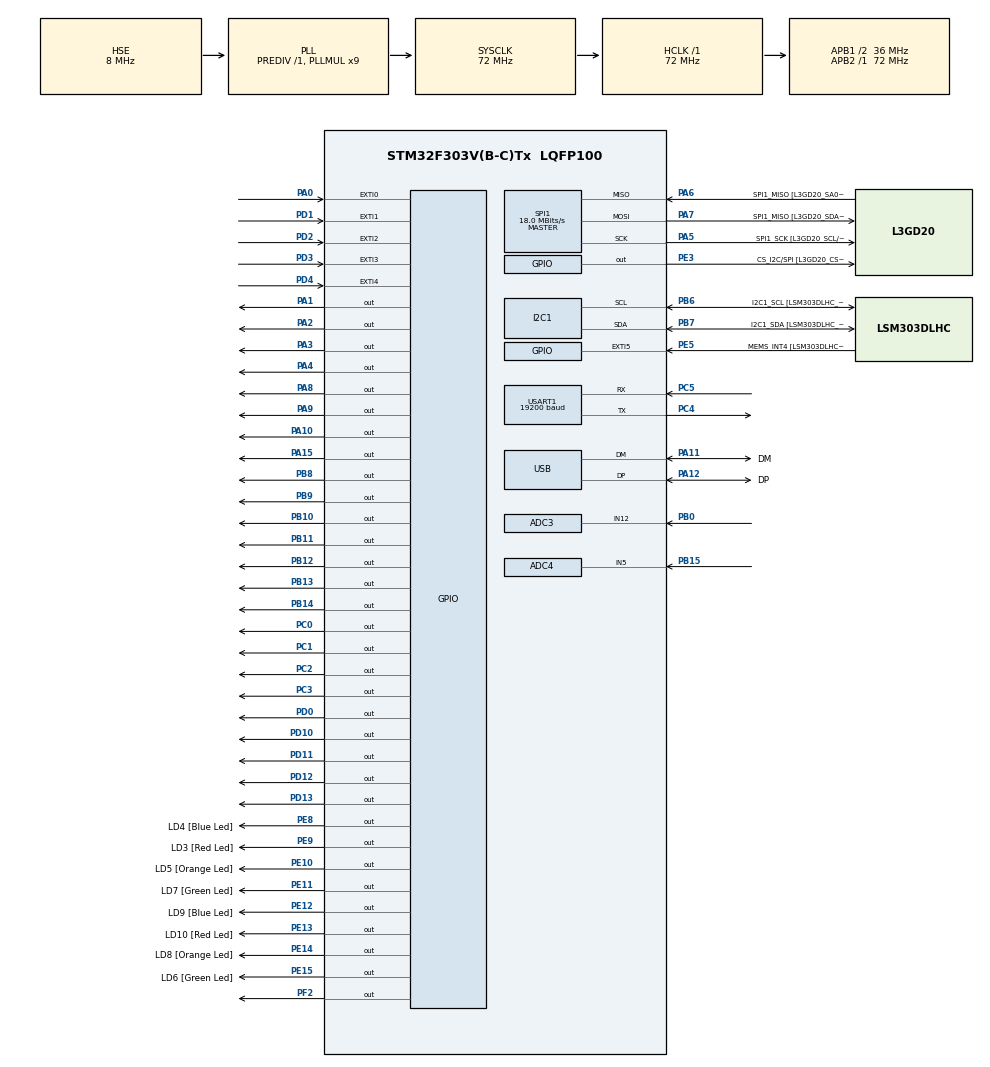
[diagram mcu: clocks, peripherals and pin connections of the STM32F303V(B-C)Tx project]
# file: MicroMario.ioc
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NVIC.EXTI2_TSC_IRQn=true\:1\:0\:true\:false\:true\:true\:true
SPI1.VirtualType=VM_MASTER
PA14.GPIO_Label=SWCLK
PA6.GPIO_Label=SPI1_MISO [L3GD20_SA0/SDO]
PB6.GPIO_Label=I2C1_SCL [LSM303DLHC_SCL]
PC5.Mode=Asynchronous
ADC4.OffsetNumber-0\#ChannelRegularConversion=ADC_OFFSET_NONE
PB13.Signal=GPIO_Output
PC15-OSC32_OUT.GPIO_Label=OSC32_OUT
NVIC.EXTI1_IRQn=true\:1\:0\:true\:false\:true\:true\:true
SPI1.Direction=SPI_DIRECTION_2LINES
RCC.APB2TimFreq_Value=72000000
PD4.Signal=GPXTI4
PB6.Signal=I2C1_SCL
PB6.Mode=I2C
SPI1.CalculateBaudRate=18.0 MBits/s
PC3.Signal=GPIO_Output
PD0.Signal=GPIO_Output
PE5.Signal=GPXTI5
PF0-OSC_IN.GPIO_Label=OSC_IN
PE9.Signal=GPIO_Output
NVIC.TIM2_IRQn=true\:1\:2\:true\:false\:true\:true\:true
PA8.Signal=GPIO_Output
TIM4.Period=100
PE10.Signal=GPIO_Output
SPI1.CalculateBaudRate-Full_Duplex_Master=24.0 MBits/s
PA0.Signal=GPXTI0
Mcu.Package=LQFP100
PB9.Signal=GPIO_Output
TIM2.Prescaler=7199
PD12.Signal=GPIO_Output
ADC3.Rank-0\#ChannelRegularConversion=1
PA10.Signal=GPIO_Output
PE12.GPIO_Label=LD9 [Blue Led]
RCC.APB1TimFreq_Value=72000000
PD3.GPIO_PuPd=GPIO_PULLDOWN
NVIC.USART1_IRQn=true\:1\:1\:true\:false\:true\:true\:true
PE10.GPIO_Label=LD5 [Orange Led]
PF1-OSC_OUT.Signal=RCC_OSC_OUT
PC4.Mode=Asynchronous
PA5.Mode=Full_Duplex_Master
NVIC.EXTI4_IRQn=true\:1\:0\:true\:false\:true\:true\:true
PD2.GPIO_PuPd=GPIO_PULLDOWN
PD3.Signal=GPXTI3
PC2.Signal=GPIO_Output
PD1.Signal=GPXTI1
PA11.GPIO_Label=DM
PD1.GPIO_PuPd=GPIO_PULLDOWN
PC0.Signal=GPIO_Output
RCC.APB1CLKDivider=RCC_HCLK_DIV2
PC14-OSC32_IN.Signal=RCC_OSC32_IN
PD10.Signal=GPIO_Output
PE5.GPIO_ModeDefaultEXTI=GPIO_MODE_EVT_RISING
PE8.GPIO_Label=LD4 [Blue Led]
PA9.Signal=GPIO_Output
PE9.GPIO_Label=LD3 [Red Led]
PB10.Signal=GPIO_Output
PB14.Signal=GPIO_Output
PA5.Signal=SPI1_SCK
NVIC.TIM3_IRQn=true\:1\:0\:true\:false\:true\:true\:true
PE14.Signal=GPIO_Output
PE15.Signal=GPIO_Output
ADC4.NbrOfConversionFlag=1
RCC.PRESCALERUSB=RCC_USBCLKSOURCE_PLL_DIV1_5
PE8.Signal=GPIO_Output
SPI1.Mode=SPI_MODE_MASTER
PF1-OSC_OUT.GPIO_Label=OSC_OUT
I2C1.Timing-I2C=0x2000090E
TIM2.Period=10000
PA13.Mode=Serial_Wire
PA4.Signal=GPIO_Output
PE13.GPIO_Label=LD10 [Red Led]
PA5.GPIO_Label=SPI1_SCK [L3GD20_SCL/SPC]
PD11.Signal=GPIO_Output
PE5.GPIO_Label=MEMS_INT4 [LSM303DLHC_INT2]
PA11.Signal=USB_DM
ProjectManager.HeapSize=0x200
ADC3.Offset-0\#ChannelRegularConversion=0
VP_TIM4_VS_ClockSourceINT.Mode=Internal
NVIC.PriorityGroup=NVIC_PRIORITYGROUP_2
PE3.Signal=GPIO_Output
PF0-OSC_IN.Signal=RCC_OSC_IN
PD2.Signal=GPXTI2
PB0.Signal=ADC3_IN12
SPI1.BaudRatePrescaler-Full_Duplex_Master=SPI_BAUDRATEPRESCALER_2
PC1.Signal=GPIO_Output
Mcu.Family=STM32F3
PA6.Mode=Full_Duplex_Master
RCC.CortexFreq_Value=72000000
PE11.GPIO_Label=LD7 [Green Led]
USART1.BaudRate=19200
RCC.SYSCLKSourceVirtual=RCC_SYSCLKSOURCE_PLLCLK
NVIC.EXTI3_IRQn=true\:1\:0\:true\:false\:true\:true\:true
PA11.Mode=Device
PB11.Signal=GPIO_Output
PB15.Signal=ADC4_IN5
ADC3.Channel-0\#ChannelRegularConversion=ADC_CHANNEL_12
ProjectManager.StackSize=0x400
SPI1.Mode-Full_Duplex_Master=SPI_MODE_MASTER
PD13.Signal=GPIO_Output
ADC4.Channel-0\#ChannelRegularConversion=ADC_CHANNEL_5
PA12.Signal=USB_DP
RCC.HCLKFreq_Value=72000000
TIM3.Period=2000
RCC.AHBFreq_Value=72000000
RCC.HSE_VALUE=8000000
ADC3.InjNumberOfConversion=0
RCC.PLLMUL=RCC_PLL_MUL9
PE13.Signal=GPIO_Output
PA14.Mode=Serial_Wire
ADC4.Rank-0\#ChannelRegularConversion=1
TIM3.Prescaler=7199
PB7.Signal=I2C1_SDA
PB7.GPIO_Label=I2C1_SDA [LSM303DLHC_SDA]
ADC3.master=1
PA6.Signal=SPI1_MISO
PA15.Signal=GPIO_Output
ADC3.OffsetNumber-0\#ChannelRegularConversion=ADC_OFFSET_NONE
PC14-OSC32_IN.GPIO_Label=OSC32_IN
PC5.Signal=USART1_RX
SPI1.BaudRatePrescaler=SPI_BAUDRATEPRESCALER_4
VP_TIM3_VS_ClockSourceINT.Mode=Internal
PA3.Signal=GPIO_Output
PB3.GPIO_Label=SWO
PA7.Mode=Full_Duplex_Master
NVIC.ADC4_IRQn=true\:1\:1\:true\:false\:true\:true\:true
PC4.Signal=USART1_TX
PE14.GPIO_Label=LD8 [Orange Led]
PA12.GPIO_Label=DP
USART1.VirtualMode-Asynchronous=VM_ASYNC
PA13.Signal=SYS_JTMS-SWDIO
PD4.GPIO_PuPd=GPIO_PULLDOWN
ADC3.SamplingTime-0\#ChannelRegularConversion=ADC_SAMPLETIME_601CYCLES_5
PE15.GPIO_Label=LD6 [Green Led]
ADC4.SamplingTimeOPAMP-0\#ChannelRegularConversion=ADC_SAMPLETIME_61CYCLES_5
ProjectManager.TargetToolchain=STM32CubeIDE
PF2.Signal=GPIO_Output
ADC3.SamplingTimeOPAMP-0\#ChannelRegularConversion=ADC_SAMPLETIME_61CYCLES_5
RCC.USBFreq_Value=48000000
ADC4.Offset-0\#ChannelRegularConversion=0
TIM4.Prescaler=7199
PE11.Signal=GPIO_Output
RCC.LSE_VALUE=32768
PC15-OSC32_OUT.Signal=RCC_OSC32_OUT
PA1.Signal=GPIO_Output
PF0-OSC_IN.Mode=HSE-External-Clock-Source
PB0.Mode=IN12-Single-Ended
board=STM32F3DISCOVERY
PB15.Mode=IN5-Single-Ended
RCC.APB2Freq_Value=72000000
VP_TIM2_VS_ClockSourceINT.Mode=Internal
Mcu.Name=STM32F303V(B-C)Tx
ADC4.SamplingTime-0\#ChannelRegularConversion=ADC_SAMPLETIME_601CYCLES_5
PE12.Signal=GPIO_Output
PA2.Signal=GPIO_Output
PA13.GPIO_Label=SWDIO
PB3.Signal=SYS_JTDO-TRACESWO
NVIC.EXTI0_IRQn=true\:1\:0\:true\:false\:true\:true\:true
RCC.SYSCLKFreq_VALUE=72000000
PA7.GPIO_Label=SPI1_MISO [L3GD20_SDA/SDI/SDO]
PA12.Mode=Device
PB7.Mode=I2C
PA14.Signal=SYS_JTCK-SWCLK
RCC.HSI_VALUE=8000000
PB8.Signal=GPIO_Output
PE3.GPIO_Label=CS_I2C/SPI [L3GD20_CS_I2C/SPI]
NVIC.TIM4_IRQn=true\:1\:0\:true\:false\:true\:true\:true
RCC.APB1Freq_Value=36000000
ADC3.NbrOfConversionFlag=1
PB12.Signal=GPIO_Output
PA7.Signal=SPI1_MOSI

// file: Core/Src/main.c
/* USER CODE BEGIN Header */
/**
  ******************************************************************************
  * @file           : main.c
  * @brief          : Main program body
  ******************************************************************************
  * @attention
  *
  * <h2><center>&copy; Copyright (c) 2021 STMicroelectronics.
  * All rights reserved.</center></h2>
  *
  * This software component is licensed by ST under BSD 3-Clause license,
  * the "License"; You may not use this file except in compliance with the
  * License. You may obtain a copy of the License at:
  *                        opensource.org/licenses/BSD-3-Clause
  *
  ******************************************************************************
  */
/* USER CODE END Header */
#include "main.h"

/* USER CODE BEGIN Includes */
#include <stdlib.h>
#include <stdio.h>
#include <math.h>
#include "LiquidCrystal.h"
/* USER CODE END Includes */

/* USER CODE BEGIN PTD */

typedef unsigned char byte;
byte marioChar[] = {
        0x0E,        0x0F,
        0x0A,        0x0E,        0x04,
        0x0C,        0x04,        0x0A
};
byte flagChar[] = {
        0x08,        0x0C,
        0x0A,        0x09,        0x0A,
        0x0C,        0x08,        0x18
};

/* USER CODE END PTD */

/* USER CODE BEGIN PD */
// board led pins
uint16_t leds[8] = {GPIO_PIN_8, GPIO_PIN_9, GPIO_PIN_10, GPIO_PIN_11,
                    GPIO_PIN_12, GPIO_PIN_13, GPIO_PIN_14, GPIO_PIN_15 };
// lcd pins
uint16_t lcd[7] = {GPIO_PIN_8, GPIO_PIN_9, GPIO_PIN_10, GPIO_PIN_11,
                   GPIO_PIN_12, GPIO_PIN_13, GPIO_PIN_14};

// Seven Segment Digit pins
uint16_t ssd[4] = {GPIO_PIN_1, GPIO_PIN_2, GPIO_PIN_3, GPIO_PIN_4};
// IC 7447 pins
uint16_t icd[4] = {GPIO_PIN_8, GPIO_PIN_9, GPIO_PIN_10, GPIO_PIN_15};
//keypad mapping
char keys[4][4] = {
        {'D', ' ', 'R', 'P'},
        {'D', ' ', 'R', 'P'},
        {'D', ' ', 'R', 'P'},
        {'D', ' ', 'R', 'P'}
};

//keypad row & columns
uint16_t krows[4] = {GPIO_PIN_10, GPIO_PIN_11, GPIO_PIN_12, GPIO_PIN_13};
uint16_t kcols[4] = {GPIO_PIN_1, GPIO_PIN_2, GPIO_PIN_3, GPIO_PIN_4};

uint32_t outc[4] = {GPIO_PIN_0, GPIO_PIN_1, GPIO_PIN_2, GPIO_PIN_3};
uint32_t outa[4] = {GPIO_PIN_1, GPIO_PIN_2, GPIO_PIN_3, GPIO_PIN_4};

//                            >    █     円   ' '    ﾛ    x̄    flag   mario
uint8_t cellTypeChar[8] = {0x3E, 0xFF, 0xFC, 0x20, 0xDB, 0xF8, 0x01, 0x00};

enum cellType {BLADE, GROUND, PIPE, AIR, BLOCK, CHEST, FLAG, MARIO};
enum moveType {HALT, RUN, JUMP, RUMP} marioMode;
enum moveDir {NONE, RIGHT, UP, DOWN, UPRIGHT, DOWNRIGHT} marioDir;

int idx[4] = {0, 2, 1, 3};

int map[4][80] = {3};
// copy of the original map,
// used to revert cells when mario moves
int genmap[4][80] = {3};
int mario[2] = {2, 4};
int mapOffset = 0;

int life = 3;
// the map doesn't move for 3 periods after hit
int immunity = 0;
int coins = 0;
int startTime;
int endTime;

double volSpeed;

unsigned char uartin[1] = "";
int buttonCount = 0;

// debounce buttons
uint32_t lastButtonTick = 0;
int isPlaying = 0;
int jumpProg = -1;

//progress of 7seg, between 0-4
// (including dec point)
int d = 0;
int val = 0;

/* USER CODE END PD */

ADC_HandleTypeDef hadc3;
ADC_HandleTypeDef hadc4;

I2C_HandleTypeDef hi2c1;

SPI_HandleTypeDef hspi1;

TIM_HandleTypeDef htim2;
TIM_HandleTypeDef htim3;
TIM_HandleTypeDef htim4;

UART_HandleTypeDef huart1;

PCD_HandleTypeDef hpcd_USB_FS;

void SystemClock_Config(void);
static void MX_GPIO_Init(void);
static void MX_I2C1_Init(void);
static void MX_SPI1_Init(void);
static void MX_USB_PCD_Init(void);
static void MX_USART1_UART_Init(void);
static void MX_ADC3_Init(void);
static void MX_TIM2_Init(void);
static void MX_TIM3_Init(void);
static void MX_ADC4_Init(void);
static void MX_TIM4_Init(void);
/* USER CODE BEGIN PFP */

void splash(void);
void initGame(void);
void lifeLost(void);
void gameLost(void);
void gameWon(void);

void moveHandler(enum moveDir);
enum moveDir getMoveDir(enum moveType move);
void jump(void);

void generateMap(void);
void printMap(void);

void numToBcd(int n){
  int x[4];
  for (int i=0; i<4; i++){
    x[i] = n & (int) (pow(2, i));
    if (x[i] > 0) x[i] = 1;
    // write to ic
    HAL_GPIO_WritePin(GPIOC, icd[i], x[i]);
  }
}

/* USER CODE END PFP */

int main(void)
{

  /* MCU Configuration--------------------------------------------------------*/

  /* Reset of all peripherals, Initializes the Flash interface and the Systick. */
  HAL_Init();

  /* Configure the system clock */
  SystemClock_Config();

  /* Initialize all configured peripherals */
  MX_GPIO_Init();
  MX_I2C1_Init();
  MX_SPI1_Init();
  MX_USB_PCD_Init();
  MX_USART1_UART_Init();
  MX_ADC3_Init();
  MX_TIM2_Init();
  MX_TIM3_Init();
  MX_ADC4_Init();
  MX_TIM4_Init();
  /* USER CODE BEGIN 2 */

    //// Get seed from an unrouted ADC pin
    //// (behold the voltage randomness)
    //HAL_ADC_Start(&hadc3);
    //HAL_UART_Receive_IT(&huart1, uartin, sizeof(uartin));
    //srand(HAL_ADC_GetValue(&hadc3));
    //HAL_ADC_Stop_IT(&hadc3);
    //
    ////char data[30];
    ////sprintf(data, "%d seed \n", HAL_ADC_GetValue(&hadc3));
    ////HAL_UART_Transmit(&huart1, data, sizeof(data), 1000);

    lastButtonTick = HAL_GetTick();

    // LCD Init
    LiquidCrystal (GPIOB, lcd[0], lcd[1], lcd[2],
                   lcd[3], lcd[4], lcd[5], lcd[6]);
    begin(20,4);
    createChar(0, marioChar);
    createChar(1, flagChar);
    display();
    // show * Splash Screen *
    splash();
    HAL_UART_Receive_IT(&huart1, uartin, sizeof(uartin));
    HAL_GPIO_WritePin(GPIOD, krows[0] | krows [1] | krows[2] | krows[3] , 1);
  /* USER CODE END 2 */

  /* Infinite loop */
  while (1)
  {

  }
}

void SystemClock_Config(void)
{
  RCC_OscInitTypeDef RCC_OscInitStruct = {0};
  RCC_ClkInitTypeDef RCC_ClkInitStruct = {0};
  RCC_PeriphCLKInitTypeDef PeriphClkInit = {0};

  /** Initializes the RCC Oscillators according to the specified parameters
  * in the RCC_OscInitTypeDef structure.
  */
  RCC_OscInitStruct.OscillatorType = RCC_OSCILLATORTYPE_HSI|RCC_OSCILLATORTYPE_HSE;
  RCC_OscInitStruct.HSEState = RCC_HSE_BYPASS;
  RCC_OscInitStruct.HSEPredivValue = RCC_HSE_PREDIV_DIV1;
  RCC_OscInitStruct.HSIState = RCC_HSI_ON;
  RCC_OscInitStruct.HSICalibrationValue = RCC_HSICALIBRATION_DEFAULT;
  RCC_OscInitStruct.PLL.PLLState = RCC_PLL_ON;
  RCC_OscInitStruct.PLL.PLLSource = RCC_PLLSOURCE_HSE;
  RCC_OscInitStruct.PLL.PLLMUL = RCC_PLL_MUL9;
  if (HAL_RCC_OscConfig(&RCC_OscInitStruct) != HAL_OK)
  {
    Error_Handler();
  }
  /** Initializes the CPU, AHB and APB buses clocks
  */
  RCC_ClkInitStruct.ClockType = RCC_CLOCKTYPE_HCLK|RCC_CLOCKTYPE_SYSCLK
                              |RCC_CLOCKTYPE_PCLK1|RCC_CLOCKTYPE_PCLK2;
  RCC_ClkInitStruct.SYSCLKSource = RCC_SYSCLKSOURCE_PLLCLK;
  RCC_ClkInitStruct.AHBCLKDivider = RCC_SYSCLK_DIV1;
  RCC_ClkInitStruct.APB1CLKDivider = RCC_HCLK_DIV2;
  RCC_ClkInitStruct.APB2CLKDivider = RCC_HCLK_DIV1;

  if (HAL_RCC_ClockConfig(&RCC_ClkInitStruct, FLASH_LATENCY_2) != HAL_OK)
  {
    Error_Handler();
  }
  PeriphClkInit.PeriphClockSelection = RCC_PERIPHCLK_USB|RCC_PERIPHCLK_USART1
                              |RCC_PERIPHCLK_I2C1|RCC_PERIPHCLK_ADC34;
  PeriphClkInit.Usart1ClockSelection = RCC_USART1CLKSOURCE_PCLK2;
  PeriphClkInit.Adc34ClockSelection = RCC_ADC34PLLCLK_DIV1;
  PeriphClkInit.I2c1ClockSelection = RCC_I2C1CLKSOURCE_HSI;
  PeriphClkInit.USBClockSelection = RCC_USBCLKSOURCE_PLL_DIV1_5;
  if (HAL_RCCEx_PeriphCLKConfig(&PeriphClkInit) != HAL_OK)
  {
    Error_Handler();
  }
}

static void MX_ADC3_Init(void)
{

  ADC_MultiModeTypeDef multimode = {0};
  ADC_ChannelConfTypeDef sConfig = {0};

  /** Common config
  */
  hadc3.Instance = ADC3;
  hadc3.Init.ClockPrescaler = ADC_CLOCK_ASYNC_DIV1;
  hadc3.Init.Resolution = ADC_RESOLUTION_12B;
  hadc3.Init.ScanConvMode = ADC_SCAN_DISABLE;
  hadc3.Init.ContinuousConvMode = DISABLE;
  hadc3.Init.DiscontinuousConvMode = DISABLE;
  hadc3.Init.ExternalTrigConvEdge = ADC_EXTERNALTRIGCONVEDGE_NONE;
  hadc3.Init.ExternalTrigConv = ADC_SOFTWARE_START;
  hadc3.Init.DataAlign = ADC_DATAALIGN_RIGHT;
  hadc3.Init.NbrOfConversion = 1;
  hadc3.Init.DMAContinuousRequests = DISABLE;
  hadc3.Init.EOCSelection = ADC_EOC_SINGLE_CONV;
  hadc3.Init.LowPowerAutoWait = DISABLE;
  hadc3.Init.Overrun = ADC_OVR_DATA_OVERWRITTEN;
  if (HAL_ADC_Init(&hadc3) != HAL_OK)
  {
    Error_Handler();
  }
  /** Configure the ADC multi-mode
  */
  multimode.Mode = ADC_MODE_INDEPENDENT;
  if (HAL_ADCEx_MultiModeConfigChannel(&hadc3, &multimode) != HAL_OK)
  {
    Error_Handler();
  }
  /** Configure Regular Channel
  */
  sConfig.Channel = ADC_CHANNEL_12;
  sConfig.Rank = ADC_REGULAR_RANK_1;
  sConfig.SingleDiff = ADC_SINGLE_ENDED;
  sConfig.SamplingTime = ADC_SAMPLETIME_601CYCLES_5;
  sConfig.OffsetNumber = ADC_OFFSET_NONE;
  sConfig.Offset = 0;
  if (HAL_ADC_ConfigChannel(&hadc3, &sConfig) != HAL_OK)
  {
    Error_Handler();
  }

}

static void MX_ADC4_Init(void)
{

  ADC_ChannelConfTypeDef sConfig = {0};

  /** Common config
  */
  hadc4.Instance = ADC4;
  hadc4.Init.ClockPrescaler = ADC_CLOCK_ASYNC_DIV1;
  hadc4.Init.Resolution = ADC_RESOLUTION_12B;
  hadc4.Init.ScanConvMode = ADC_SCAN_DISABLE;
  hadc4.Init.ContinuousConvMode = DISABLE;
  hadc4.Init.DiscontinuousConvMode = DISABLE;
  hadc4.Init.ExternalTrigConvEdge = ADC_EXTERNALTRIGCONVEDGE_NONE;
  hadc4.Init.ExternalTrigConv = ADC_SOFTWARE_START;
  hadc4.Init.DataAlign = ADC_DATAALIGN_RIGHT;
  hadc4.Init.NbrOfConversion = 1;
  hadc4.Init.DMAContinuousRequests = DISABLE;
  hadc4.Init.EOCSelection = ADC_EOC_SINGLE_CONV;
  hadc4.Init.LowPowerAutoWait = DISABLE;
  hadc4.Init.Overrun = ADC_OVR_DATA_OVERWRITTEN;
  if (HAL_ADC_Init(&hadc4) != HAL_OK)
  {
    Error_Handler();
  }
  /** Configure Regular Channel
  */
  sConfig.Channel = ADC_CHANNEL_5;
  sConfig.Rank = ADC_REGULAR_RANK_1;
  sConfig.SingleDiff = ADC_SINGLE_ENDED;
  sConfig.SamplingTime = ADC_SAMPLETIME_601CYCLES_5;
  sConfig.OffsetNumber = ADC_OFFSET_NONE;
  sConfig.Offset = 0;
  if (HAL_ADC_ConfigChannel(&hadc4, &sConfig) != HAL_OK)
  {
    Error_Handler();
  }

}

static void MX_I2C1_Init(void)
{

  hi2c1.Instance = I2C1;
  hi2c1.Init.Timing = 0x2000090E;
  hi2c1.Init.OwnAddress1 = 0;
  hi2c1.Init.AddressingMode = I2C_ADDRESSINGMODE_7BIT;
  hi2c1.Init.DualAddressMode = I2C_DUALADDRESS_DISABLE;
  hi2c1.Init.OwnAddress2 = 0;
  hi2c1.Init.OwnAddress2Masks = I2C_OA2_NOMASK;
  hi2c1.Init.GeneralCallMode = I2C_GENERALCALL_DISABLE;
  hi2c1.Init.NoStretchMode = I2C_NOSTRETCH_DISABLE;
  if (HAL_I2C_Init(&hi2c1) != HAL_OK)
  {
    Error_Handler();
  }
  /** Configure Analogue filter
  */
  if (HAL_I2CEx_ConfigAnalogFilter(&hi2c1, I2C_ANALOGFILTER_ENABLE) != HAL_OK)
  {
    Error_Handler();
  }
  /** Configure Digital filter
  */
  if (HAL_I2CEx_ConfigDigitalFilter(&hi2c1, 0) != HAL_OK)
  {
    Error_Handler();
  }

}

static void MX_SPI1_Init(void)
{

  /* SPI1 parameter configuration*/
  hspi1.Instance = SPI1;
  hspi1.Init.Mode = SPI_MODE_MASTER;
  hspi1.Init.Direction = SPI_DIRECTION_2LINES;
  hspi1.Init.DataSize = SPI_DATASIZE_4BIT;
  hspi1.Init.CLKPolarity = SPI_POLARITY_LOW;
  hspi1.Init.CLKPhase = SPI_PHASE_1EDGE;
  hspi1.Init.NSS = SPI_NSS_SOFT;
  hspi1.Init.BaudRatePrescaler = SPI_BAUDRATEPRESCALER_4;
  hspi1.Init.FirstBit = SPI_FIRSTBIT_MSB;
  hspi1.Init.TIMode = SPI_TIMODE_DISABLE;
  hspi1.Init.CRCCalculation = SPI_CRCCALCULATION_DISABLE;
  hspi1.Init.CRCPolynomial = 7;
  hspi1.Init.CRCLength = SPI_CRC_LENGTH_DATASIZE;
  hspi1.Init.NSSPMode = SPI_NSS_PULSE_ENABLE;
  if (HAL_SPI_Init(&hspi1) != HAL_OK)
  {
    Error_Handler();
  }

}

static void MX_TIM2_Init(void)
{

  TIM_ClockConfigTypeDef sClockSourceConfig = {0};
  TIM_MasterConfigTypeDef sMasterConfig = {0};

  htim2.Instance = TIM2;
  htim2.Init.Prescaler = 7199;
  htim2.Init.CounterMode = TIM_COUNTERMODE_UP;
  htim2.Init.Period = 10000;
  htim2.Init.ClockDivision = TIM_CLOCKDIVISION_DIV1;
  htim2.Init.AutoReloadPreload = TIM_AUTORELOAD_PRELOAD_DISABLE;
  if (HAL_TIM_Base_Init(&htim2) != HAL_OK)
  {
    Error_Handler();
  }
  sClockSourceConfig.ClockSource = TIM_CLOCKSOURCE_INTERNAL;
  if (HAL_TIM_ConfigClockSource(&htim2, &sClockSourceConfig) != HAL_OK)
  {
    Error_Handler();
  }
  sMasterConfig.MasterOutputTrigger = TIM_TRGO_RESET;
  sMasterConfig.MasterSlaveMode = TIM_MASTERSLAVEMODE_DISABLE;
  if (HAL_TIMEx_MasterConfigSynchronization(&htim2, &sMasterConfig) != HAL_OK)
  {
    Error_Handler();
  }

}

static void MX_TIM3_Init(void)
{

  TIM_ClockConfigTypeDef sClockSourceConfig = {0};
  TIM_MasterConfigTypeDef sMasterConfig = {0};

  htim3.Instance = TIM3;
  htim3.Init.Prescaler = 7199;
  htim3.Init.CounterMode = TIM_COUNTERMODE_UP;
  htim3.Init.Period = 2000;
  htim3.Init.ClockDivision = TIM_CLOCKDIVISION_DIV1;
  htim3.Init.AutoReloadPreload = TIM_AUTORELOAD_PRELOAD_DISABLE;
  if (HAL_TIM_Base_Init(&htim3) != HAL_OK)
  {
    Error_Handler();
  }
  sClockSourceConfig.ClockSource = TIM_CLOCKSOURCE_INTERNAL;
  if (HAL_TIM_ConfigClockSource(&htim3, &sClockSourceConfig) != HAL_OK)
  {
    Error_Handler();
  }
  sMasterConfig.MasterOutputTrigger = TIM_TRGO_RESET;
  sMasterConfig.MasterSlaveMode = TIM_MASTERSLAVEMODE_DISABLE;
  if (HAL_TIMEx_MasterConfigSynchronization(&htim3, &sMasterConfig) != HAL_OK)
  {
    Error_Handler();
  }

}

static void MX_TIM4_Init(void)
{

  TIM_ClockConfigTypeDef sClockSourceConfig = {0};
  TIM_MasterConfigTypeDef sMasterConfig = {0};

  htim4.Instance = TIM4;
  htim4.Init.Prescaler = 7199;
  htim4.Init.CounterMode = TIM_COUNTERMODE_UP;
  htim4.Init.Period = 100;
  htim4.Init.ClockDivision = TIM_CLOCKDIVISION_DIV1;
  htim4.Init.AutoReloadPreload = TIM_AUTORELOAD_PRELOAD_DISABLE;
  if (HAL_TIM_Base_Init(&htim4) != HAL_OK)
  {
    Error_Handler();
  }
  sClockSourceConfig.ClockSource = TIM_CLOCKSOURCE_INTERNAL;
  if (HAL_TIM_ConfigClockSource(&htim4, &sClockSourceConfig) != HAL_OK)
  {
    Error_Handler();
  }
  sMasterConfig.MasterOutputTrigger = TIM_TRGO_RESET;
  sMasterConfig.MasterSlaveMode = TIM_MASTERSLAVEMODE_DISABLE;
  if (HAL_TIMEx_MasterConfigSynchronization(&htim4, &sMasterConfig) != HAL_OK)
  {
    Error_Handler();
  }

}

static void MX_USART1_UART_Init(void)
{

  huart1.Instance = USART1;
  huart1.Init.BaudRate = 19200;
  huart1.Init.WordLength = UART_WORDLENGTH_8B;
  huart1.Init.StopBits = UART_STOPBITS_1;
  huart1.Init.Parity = UART_PARITY_NONE;
  huart1.Init.Mode = UART_MODE_TX_RX;
  huart1.Init.HwFlowCtl = UART_HWCONTROL_NONE;
  huart1.Init.OverSampling = UART_OVERSAMPLING_16;
  huart1.Init.OneBitSampling = UART_ONE_BIT_SAMPLE_DISABLE;
  huart1.AdvancedInit.AdvFeatureInit = UART_ADVFEATURE_NO_INIT;
  if (HAL_UART_Init(&huart1) != HAL_OK)
  {
    Error_Handler();
  }

}

static void MX_USB_PCD_Init(void)
{

  hpcd_USB_FS.Instance = USB;
  hpcd_USB_FS.Init.dev_endpoints = 8;
  hpcd_USB_FS.Init.speed = PCD_SPEED_FULL;
  hpcd_USB_FS.Init.phy_itface = PCD_PHY_EMBEDDED;
  hpcd_USB_FS.Init.low_power_enable = DISABLE;
  hpcd_USB_FS.Init.battery_charging_enable = DISABLE;
  if (HAL_PCD_Init(&hpcd_USB_FS) != HAL_OK)
  {
    Error_Handler();
  }

}

static void MX_GPIO_Init(void)
{
  GPIO_InitTypeDef GPIO_InitStruct = {0};

  /* GPIO Ports Clock Enable */
  __HAL_RCC_GPIOE_CLK_ENABLE();
  __HAL_RCC_GPIOC_CLK_ENABLE();
  __HAL_RCC_GPIOF_CLK_ENABLE();
  __HAL_RCC_GPIOA_CLK_ENABLE();
  __HAL_RCC_GPIOB_CLK_ENABLE();
  __HAL_RCC_GPIOD_CLK_ENABLE();

  /*Configure GPIO pin Output Level */
  HAL_GPIO_WritePin(GPIOE, CS_I2C_SPI_Pin|LD4_Pin|LD3_Pin|LD5_Pin
                          |LD7_Pin|LD9_Pin|LD10_Pin|LD8_Pin
                          |LD6_Pin, GPIO_PIN_RESET);

  /*Configure GPIO pin Output Level */
  HAL_GPIO_WritePin(GPIOC, GPIO_PIN_0|GPIO_PIN_1|GPIO_PIN_2|GPIO_PIN_3, GPIO_PIN_RESET);

  /*Configure GPIO pin Output Level */
  HAL_GPIO_WritePin(GPIOF, GPIO_PIN_2, GPIO_PIN_RESET);

  /*Configure GPIO pin Output Level */
  HAL_GPIO_WritePin(GPIOA, GPIO_PIN_1|GPIO_PIN_2|GPIO_PIN_3|GPIO_PIN_4
                          |GPIO_PIN_8|GPIO_PIN_9|GPIO_PIN_10|GPIO_PIN_15, GPIO_PIN_RESET);

  /*Configure GPIO pin Output Level */
  HAL_GPIO_WritePin(GPIOB, GPIO_PIN_10|GPIO_PIN_11|GPIO_PIN_12|GPIO_PIN_13
                          |GPIO_PIN_14|GPIO_PIN_8|GPIO_PIN_9, GPIO_PIN_RESET);

  /*Configure GPIO pin Output Level */
  HAL_GPIO_WritePin(GPIOD, GPIO_PIN_10|GPIO_PIN_11|GPIO_PIN_12|GPIO_PIN_13
                          |GPIO_PIN_0, GPIO_PIN_RESET);

  /*Configure GPIO pins : CS_I2C_SPI_Pin LD4_Pin LD3_Pin LD5_Pin
                           LD7_Pin LD9_Pin LD10_Pin LD8_Pin
                           LD6_Pin */
  GPIO_InitStruct.Pin = CS_I2C_SPI_Pin|LD4_Pin|LD3_Pin|LD5_Pin
                          |LD7_Pin|LD9_Pin|LD10_Pin|LD8_Pin
                          |LD6_Pin;
  GPIO_InitStruct.Mode = GPIO_MODE_OUTPUT_PP;
  GPIO_InitStruct.Pull = GPIO_NOPULL;
  GPIO_InitStruct.Speed = GPIO_SPEED_FREQ_LOW;
  HAL_GPIO_Init(GPIOE, &GPIO_InitStruct);

  /*Configure GPIO pin : MEMS_INT4_Pin */
  GPIO_InitStruct.Pin = MEMS_INT4_Pin;
  GPIO_InitStruct.Mode = GPIO_MODE_EVT_RISING;
  GPIO_InitStruct.Pull = GPIO_NOPULL;
  HAL_GPIO_Init(MEMS_INT4_GPIO_Port, &GPIO_InitStruct);

  /*Configure GPIO pins : PC0 PC1 PC2 PC3 */
  GPIO_InitStruct.Pin = GPIO_PIN_0|GPIO_PIN_1|GPIO_PIN_2|GPIO_PIN_3;
  GPIO_InitStruct.Mode = GPIO_MODE_OUTPUT_PP;
  GPIO_InitStruct.Pull = GPIO_NOPULL;
  GPIO_InitStruct.Speed = GPIO_SPEED_FREQ_LOW;
  HAL_GPIO_Init(GPIOC, &GPIO_InitStruct);

  /*Configure GPIO pin : PF2 */
  GPIO_InitStruct.Pin = GPIO_PIN_2;
  GPIO_InitStruct.Mode = GPIO_MODE_OUTPUT_PP;
  GPIO_InitStruct.Pull = GPIO_NOPULL;
  GPIO_InitStruct.Speed = GPIO_SPEED_FREQ_LOW;
  HAL_GPIO_Init(GPIOF, &GPIO_InitStruct);

  /*Configure GPIO pin : PA0 */
  GPIO_InitStruct.Pin = GPIO_PIN_0;
  GPIO_InitStruct.Mode = GPIO_MODE_IT_RISING;
  GPIO_InitStruct.Pull = GPIO_NOPULL;
  HAL_GPIO_Init(GPIOA, &GPIO_InitStruct);

  /*Configure GPIO pins : PA1 PA2 PA3 PA4
                           PA8 PA9 PA10 PA15 */
  GPIO_InitStruct.Pin = GPIO_PIN_1|GPIO_PIN_2|GPIO_PIN_3|GPIO_PIN_4
                          |GPIO_PIN_8|GPIO_PIN_9|GPIO_PIN_10|GPIO_PIN_15;
  GPIO_InitStruct.Mode = GPIO_MODE_OUTPUT_PP;
  GPIO_InitStruct.Pull = GPIO_NOPULL;
  GPIO_InitStruct.Speed = GPIO_SPEED_FREQ_LOW;
  HAL_GPIO_Init(GPIOA, &GPIO_InitStruct);

  /*Configure GPIO pins : PB10 PB11 PB12 PB13
                           PB14 PB8 PB9 */
  GPIO_InitStruct.Pin = GPIO_PIN_10|GPIO_PIN_11|GPIO_PIN_12|GPIO_PIN_13
                          |GPIO_PIN_14|GPIO_PIN_8|GPIO_PIN_9;
  GPIO_InitStruct.Mode = GPIO_MODE_OUTPUT_PP;
  GPIO_InitStruct.Pull = GPIO_NOPULL;
  GPIO_InitStruct.Speed = GPIO_SPEED_FREQ_LOW;
  HAL_GPIO_Init(GPIOB, &GPIO_InitStruct);

  /*Configure GPIO pins : PD10 PD11 PD12 PD13
                           PD0 */
  GPIO_InitStruct.Pin = GPIO_PIN_10|GPIO_PIN_11|GPIO_PIN_12|GPIO_PIN_13
                          |GPIO_PIN_0;
  GPIO_InitStruct.Mode = GPIO_MODE_OUTPUT_PP;
  GPIO_InitStruct.Pull = GPIO_NOPULL;
  GPIO_InitStruct.Speed = GPIO_SPEED_FREQ_LOW;
  HAL_GPIO_Init(GPIOD, &GPIO_InitStruct);

  /*Configure GPIO pins : PD1 PD2 PD3 PD4 */
  GPIO_InitStruct.Pin = GPIO_PIN_1|GPIO_PIN_2|GPIO_PIN_3|GPIO_PIN_4;
  GPIO_InitStruct.Mode = GPIO_MODE_IT_RISING;
  GPIO_InitStruct.Pull = GPIO_PULLDOWN;
  HAL_GPIO_Init(GPIOD, &GPIO_InitStruct);

  /* EXTI interrupt init*/
  HAL_NVIC_SetPriority(EXTI0_IRQn, 1, 0);
  HAL_NVIC_EnableIRQ(EXTI0_IRQn);

  HAL_NVIC_SetPriority(EXTI1_IRQn, 1, 0);
  HAL_NVIC_EnableIRQ(EXTI1_IRQn);

  HAL_NVIC_SetPriority(EXTI2_TSC_IRQn, 1, 0);
  HAL_NVIC_EnableIRQ(EXTI2_TSC_IRQn);

  HAL_NVIC_SetPriority(EXTI3_IRQn, 1, 0);
  HAL_NVIC_EnableIRQ(EXTI3_IRQn);

  HAL_NVIC_SetPriority(EXTI4_IRQn, 1, 0);
  HAL_NVIC_EnableIRQ(EXTI4_IRQn);

}

/* USER CODE BEGIN 4 */

// random map generator
// (called with initGame, srand given by time called)
void generateMap() {
    // probabilities for various cell features (/100)
    int prob[4] = {10, 20, 10, 8};
    // TODO: use these for easy mode (no pits/blocks)
    //int prob[4] = {10, 0, 20, 0};
    for (int i=0; i<4; i++){
        switch (i) {
            // chests or blocks or sky
            case 0:
                for (int j=0; j<4; j++){
                    map[i][j] = AIR;
                    genmap[i][j] = AIR;
                }
                for (int j=4; j<79; j++){
                    int rs = rand() % 100;
                    int r;
                    if (rs <= prob[0])
                        r = CHEST;
                    else if (rs <= prob[1])
                        r = BLOCK;
                    else r = AIR;
                    map[i][j] = r;
                    genmap[i][j] = r;
                }
                break;
            // pipes or not
            case 2:
                for (int j=0; j<79; j++){
                    int r;
                    // if there's a block above, don't put pipes
                    if (j <= 6 || map[0][j] == BLOCK
                            || map[0][j] == CHEST
                         || (rand()%100) > prob[2])
                        r = AIR;
                    else
                        r = PIPE;
                    map[i][j] = r;
                    genmap[i][j] = r;
                }
                break;
            // ground or pit
            case 3:
                for (int j=0; j<79; j++){
                    int r;
                    // if there's a pipe, don't put a pit
                    // also if there's a block
                    // check previous/next cell for pit/pipe/block too
                    if (j <= 8 || j >= 58
                    || map[2][j] == PIPE || map[2][j-1] == PIPE || map[2][j+1] == PIPE
                    || map[0][j] == BLOCK || map[0][j-1] == BLOCK || map[0][j+1] == BLOCK
                    || (rand()%100) > prob[3]
                    || map[3][j-1] == AIR)
                        r = GROUND;
                    else
                        r = AIR;
                    map[i][j] = r;
                    genmap[i][j] = r;
                }
                break;
            case 1:
            default:
                for(int j=0; j<79; j++){
                    map[i][j] = AIR;
                    genmap[i][j] = AIR;
                }
                break;
        }
    }
    map[2][59] = FLAG;
    genmap[2][59] = FLAG;

}

// print map, called by TIM2
void printMap () {
    if (mapOffset >= 59) {
        HAL_TIM_Base_Stop_IT(&htim2);
        return;
    }

    if (mario[1] >= 59 && isPlaying) {
        HAL_TIM_Base_Stop_IT(&htim2);
        gameWon();
        return;
    }
    /* --------------------
     * i = 0 prints line 0,
     * i = 1 prints line 2,
     * i = 2 prints line 1,
     * i = 3 prints line 3.
     * ------------------- */
    for (int i = 0; i < 4; i++) {
        //skip the air
        // if game end graphics is on
        if (!isPlaying && (i == 2 || i == 3)) {
            continue;
        }
        if (idx[i] <= 1) {
            setCursor(0, idx[i]);
        }

        write(cellTypeChar[BLADE]);

        // Mario hit the blades
        // Life Lost :(
        if (mario[1] == mapOffset - 1 && isPlaying) {
            lifeLost();
            return;
        }

        for (int j = mapOffset; j < mapOffset + 19; j++) {
            write(cellTypeChar[map[idx[i]][j]]);
        }
    }

    if (marioMode != JUMP && marioMode != RUMP)
        mapOffset++;
}

// set up game for play and start
void initGame(){
    // turn off leds
    HAL_GPIO_WritePin(GPIOE, 0xFFF00U, 0);

    // set all stats to default
    life = 3;
    coins = 0;
    mapOffset = 0;

    // turn on leds to indicate lives
    for (int i = 0; i < life ; i++){
        HAL_GPIO_WritePin(GPIOE, leds[i], 1);
    }

    // generate random map
    srand(HAL_GetTick());
    generateMap();
    command(LCD_CLEARDISPLAY);

    // set up Mario
    mario[0] = 2;
    mario[1] = 4;
    map[2][4] = MARIO;
    printMap();
    moveHandler(NONE);

    buttonCount = 1;
    isPlaying = 1;
    // mark start for score calc
    startTime = HAL_GetTick();

    HAL_TIM_Base_Start_IT(&htim4);
    HAL_UART_Receive_IT(&huart1, uartin, sizeof(uartin));
    HAL_TIM_Base_Start_IT(&htim2);
}

// Blue Button & Keypad handler
void HAL_GPIO_EXTI_Callback(uint16_t GPIO_Pin)
{
    uint32_t currTick = HAL_GetTick();
    // BIG BLUE BUTTON
    if (GPIO_Pin == GPIO_PIN_0)
    {
        if (buttonCount == 0) {
            initGame();
        }
        // generic play/pause
        else if (buttonCount == 1 && isPlaying) {
            isPlaying = 0;
            // don't count time paused
            endTime = HAL_GetTick();
            setCursor(5, 1);
            print("P A U S E D");
            unsigned char data[40];
            int sizestr = sprintf(data, "Game paused, press R to continue.\n");
            HAL_UART_Transmit(&huart1, data, sizestr, 1000);
            HAL_TIM_Base_Stop_IT(&htim2);
            HAL_TIM_Base_Stop_IT(&htim3);
        }
        else {
            // clear pause graphics
            setCursor(5, 1);
            print ("           ");
            isPlaying = 1;
            // endTime was set at pause
            // -> the extra duration counted.
            // we can shift the start time
            // and concat it to current time.
            startTime = HAL_GetTick() - (endTime - startTime);
            HAL_TIM_Base_Start_IT(&htim2);
        }
    }
    // Keypad + debounce
    // (no need to check rows, all rows are similar!)
    else if (currTick - lastButtonTick >= 50) {
        // Run
        if (GPIO_Pin == kcols[0] && isPlaying){
            marioMode = (marioMode != JUMP) ? RUN : RUMP;
            marioDir = getMoveDir(marioMode);
            moveHandler((marioDir));
        }
        // Pause/Stop
        else if (GPIO_Pin == kcols[3] && isPlaying){
            isPlaying = 0;
            // don't count the time paused
            endTime = HAL_GetTick();
            setCursor(5, 1);
            print("P A U S E D");
            unsigned char data[40];
            int sizestr = sprintf(data, "Game paused, press R to continue.\n");
            HAL_UART_Transmit(&huart1, data, sizestr, 1000);
            HAL_TIM_Base_Stop_IT(&htim2);
            HAL_TIM_Base_Stop_IT(&htim3);
        }
        // Resume/Start
        else if (GPIO_Pin == kcols[2]){
            if(buttonCount == 0) {
                initGame();
            }
            else {
                // clear pause graphics
                setCursor(5, 1);
                print ("           ");
                isPlaying = 1;
                // endTime was set at pause
                // -> the extra duration counted.
                // we can shift the start time
                // and concat it to current time.
                startTime = HAL_GetTick() - (endTime - startTime);
                HAL_TIM_Base_Start_IT(&htim2);
            }
        }
        // Jump/space
        else if (GPIO_Pin == kcols[1] && isPlaying && jumpProg == -1){
            //Activate jump sequence
            HAL_GPIO_TogglePin(GPIOD, GPIO_PIN_0);
            jumpProg = 0;
            marioMode = JUMP;
            HAL_TIM_Base_Start_IT(&htim3);
        }
    }
    lastButtonTick = currTick;
}

void HAL_UART_RxCpltCallback(UART_HandleTypeDef *huart)
{
    if (huart->Instance == USART1)
    {
        // Run
        if((uartin[0] == 'd' || uartin[0] == 'D') && isPlaying){
            marioMode = (marioMode != JUMP) ? RUN : RUMP;
            marioDir = getMoveDir(marioMode);
            moveHandler((marioDir));
        }
        // Jump
        else if(uartin[0] == ' ' && isPlaying && jumpProg == -1){
            //Activate jump sequence
            HAL_GPIO_TogglePin(GPIOD, GPIO_PIN_0);
            jumpProg = 0;
            marioMode = JUMP;
            HAL_TIM_Base_Start_IT(&htim3);
        }
        // Play/Resume/Start
        else if(uartin[0] == 'r' || uartin[0] == 'R'){
            if(buttonCount == 0) {
                isPlaying = 1;
                initGame();
            }
            else {
                setCursor(5, 1);
                print ("           ");
                isPlaying = 1;
                // endTime was set at pause
                // -> the extra duration counted.
                // we can shift the start time
                // and concat it to current time.
                startTime = HAL_GetTick() - (endTime - startTime);
                HAL_TIM_Base_Start_IT(&htim2);
            }
        }
        // Pause/Stop
        else if(uartin[0] == 'p' || uartin[0] == 'P' && isPlaying){
            isPlaying = 0;
            // don't count the time paused
            endTime = HAL_GetTick();
            setCursor(5, 1);
            print("P A U S E D");
            unsigned char data[40];
            int sizestr = sprintf(data, "Game paused, press R to continue.\n");
            HAL_UART_Transmit(&huart1, data, sizestr, 1000);
            HAL_TIM_Base_Stop_IT(&htim2);
            HAL_TIM_Base_Stop_IT(&htim3);
        }
        HAL_UART_Receive_IT(&huart1, uartin, sizeof(uartin));
    }
}

// print map (htim2) and print jump (htim3)
void HAL_TIM_PeriodElapsedCallback(TIM_HandleTypeDef *htim){
    // first check for speed changes, then print
	if (htim->Instance == TIM2){
	    // check if speed has changed
	    HAL_ADC_Start_IT(&hadc4);
        if(isPlaying
        && marioMode != JUMP
        && marioMode != RUMP) {
            marioDir = getMoveDir(marioMode);
            moveHandler(marioDir);
        }
        // if mario is jumping, don't change offset
        if (marioMode != JUMP && marioMode != RUMP && marioMode != RUN)
	        printMap();

        // lose immunity from start/life lost
        immunity--;
        if (immunity == 0){
            HAL_GPIO_WritePin(GPIOE, leds[6], 0);
        }
	}
	if (htim->Instance == TIM3){
        // do the jump routine
        jump();
	}
	if (htim->Instance == TIM4){
	    // write digit to 7seg
        HAL_GPIO_WritePin (GPIOA, ssd[3-d+1], 0);
        if (d == 4) {
            d = 0;
            val = coins;
        }
        if (d == 0) {
            int r = val % 10;
            numToBcd(r);
            val = val / 10;
        }
        else if(d == 1){
            int r = val % 10;
            numToBcd(r);
            val = val / 10;
            HAL_GPIO_WritePin(GPIOF, GPIO_PIN_2, 1);
        }
        else if(d == 2){
            val = (int) volSpeed * 10;
            int r = val % 10;
            numToBcd(r);
            val = val / 10;
            // dec point
            HAL_GPIO_WritePin(GPIOF, GPIO_PIN_2, 0);
        }
        else if (d == 3){
            int r = val % 10;
            numToBcd(r);
            val = coins;
        }
        HAL_GPIO_WritePin (GPIOA, outa[3-d], 1);
        d++;
	}
}

// volume to speed
void HAL_ADC_ConvCpltCallback(ADC_HandleTypeDef *hadc)
{
    // use Volume module to control map ~~Speed~~
    if (hadc->Instance == ADC4)
    {
        uint32_t x = HAL_ADC_GetValue(&hadc4);
        double lastVolSpeed = volSpeed;
        volSpeed = 0.5 + (x * 1.5 / 4095);
        if (volSpeed <= lastVolSpeed - 0.35
            || volSpeed >= lastVolSpeed + 0.35)
        {
            HAL_TIM_Base_Stop_IT(&htim2);
            htim2.Init.Period = (uint32_t) (10000 * (1/volSpeed));
            unsigned char data[15];
            int sizestr = sprintf(data, "%.2lf speed\n", volSpeed);
            HAL_UART_Transmit(&huart1, data, sizestr, 1000);
            //__HAL_TIM_SET_AUTORELOAD(&htim2,volSpeed);
            HAL_TIM_Base_Start_IT(&htim2);
        }
    }
    HAL_ADC_Stop_IT(&hadc4);
}

// get direction of move based on move mode
enum moveDir getMoveDir(enum moveType move){
    switch (move){
        case JUMP:
            // in 0 & 1 we're going up
            if (jumpProg != -1 && jumpProg < 2){
                return UP;
            }
            // in 2 & 3 it's down
            // (back to cells 1 & 2)
            else if (jumpProg != -1){
                return DOWN;
            }
            break;
        case RUMP:
        case RUN:
            return RIGHT;
        case HALT:
        default:
            return NONE;
    }
    return NONE;
}

// collision detection and movement handling
void moveHandler(enum moveDir dir) {
    int oldy = mario[0];
    int oldx = mario[1];

    // MARIO WON!
    if (mario[1] >= 59){
        HAL_TIM_Base_Stop_IT(&htim2);
        // bye mario!
        map[oldy][oldx] = genmap[oldy][oldx];
        gameWon();
        return;
    }

    switch (dir){
        //FIXME: handle upright & downright
        case RIGHT:
        case DOWNRIGHT:
        case UPRIGHT:
            // mario is in last visible cell,
            // move window
            if (mario[1] >= mapOffset + 18){
                mapOffset += 3;
            }
            // path is clear
            if (map[oldy][oldx + 1] == AIR
            || map[oldy][oldx + 1] == FLAG){
                // reset old cell to original state
                map[oldy][oldx] = genmap[oldy][oldx];
                map[oldy][oldx+1] = MARIO;
                mario[1] = oldx + 1;
            }
            // fall back to ground if no pipe
            if (oldy == 1 && map[2][oldx+1] != PIPE && jumpProg > 1){
                map[1][oldx] = genmap[1][oldx];
                map[2][oldx] = MARIO;
                mario[0] = 2;
                setCursor(oldx - mapOffset + 2, 1);
                write(cellTypeChar[map[1][oldx]]);
                setCursor(mario[1] - mapOffset + 2, mario[0]);
                write(cellTypeChar[MARIO]);
                break;
            }
            setCursor(oldx - mapOffset + 2, oldy);
            write(cellTypeChar[map[oldy][oldx]]);
            if(mario[0] != oldy)
                setCursor(mario[1] - mapOffset + 2, mario[0]);
            write(cellTypeChar[MARIO]);
            break;
        case UP:
            // mario can *still* go up
            if (mario[0] > 0){
                // space to move / no collision
                if (map[oldy-1][oldx] == AIR ){
                    // reset old cell to original state
                    map[oldy][oldx] = genmap[oldy][oldx];
                    map[oldy-1][oldx] = MARIO;
                    mario[0] = oldy - 1;
                }
                // coins $_$
                else if (oldy == 1 && map[oldy-1][oldx] == CHEST){
                    // break the chest
                    map[0][oldx] = AIR;
                    genmap[0][oldx] = AIR;
                    // add coins to mario
                    // (random amount between 1-3)
                    int c = rand() % 3 + 1;
                    coins += c;
                    char data[45];
                    int sizestr = sprintf(data, "You found %d coins $_$\t"
                                                "Total coins: %d\n", c, coins);
                    HAL_UART_Transmit(&huart1, data, sizestr, 1000);
                    setCursor(oldx - mapOffset + 2, 0);
                    write(cellTypeChar[AIR]);
                    break;
                }
            }
            setCursor(oldx - mapOffset + 2, oldy);
            write(cellTypeChar[map[oldy][oldx]]);
            if (mario[0] != oldy)
                setCursor(mario[1] - mapOffset + 2, mario[0]);
            write(cellTypeChar[MARIO]);
            break;
        case DOWN:
            // if there's *still* space to go down
            // not pits!
            if (mario[0] < 2 && map[oldy+1][oldx] == AIR){
                map[oldy][oldx] = genmap[oldy][oldx];
                map[oldy+1][oldx] = MARIO;
                mario[0] = oldy + 1;
            }
            setCursor(oldx - mapOffset + 2, oldy);
            write(cellTypeChar[map[oldy][oldx]]);
            if (mario[0] != oldy)
                setCursor(mario[1] - mapOffset + 2, mario[0]);
            write(cellTypeChar[MARIO]);
            break;
        case NONE:
        default:
            // fall back to ground if no pipe
            if (oldy == 1 && map[2][oldx] != PIPE){
                map[1][oldx] = genmap[oldy][oldx];
                map[2][oldx] = MARIO;
                mario[0] = oldy + 1;
                setCursor(oldx - mapOffset + 2, oldy);
                write(cellTypeChar[map[oldy][oldx]]);
                setCursor(mario[1] - mapOffset + 2, mario[0]);
                write(cellTypeChar[MARIO]);
            }
            break;
    }

    // fall into pit :(
    if (mario[0] == 2 && genmap[3][mario[1]] == AIR){
        // handle life loss & send stats
        unsigned char data[40];
        int sizestr = sprintf(data, "That was a steep fall :( \n");
        HAL_UART_Transmit(&huart1, data, sizestr, 1000);
        HAL_GPIO_WritePin(GPIOE, leds[6], 1);
        lifeLost();
        // reset the map to original state,
        // move mario ahead (no pipes/pits next to pits)
        map[mario[0]][mario[1]] = genmap[mario[0]][mario[1]];
        mario[1] += 1;
        return;
    }
    // stop mario if he was moving (walk is only one sequence)
    marioMode = ((marioMode == RUMP || marioMode == JUMP) && jumpProg != -1)? JUMP : HALT;
}

// jump sequence handler
void jump () {

    if (jumpProg == 3) {
        marioDir = getMoveDir(marioMode);
        moveHandler((marioDir));
        marioMode = HALT;
        jumpProg = -1;
        // relay pass
        HAL_GPIO_TogglePin(GPIOD, GPIO_PIN_0);
        HAL_TIM_Base_Stop_IT(&htim3);
    }
    else {
        marioDir = getMoveDir(marioMode);
        moveHandler((marioDir));
    }
    if (marioMode == RUMP)
        marioMode = (jumpProg == -1)? HALT : JUMP;
    if (jumpProg != -1)
        jumpProg += 1;
}

//show splash screen at start (on lcd)
void splash (){
    noCursor();
    unsigned char data[40] = "";
    int sizestr = sprintf(data, "Press the blue button to start.\n");
    HAL_UART_Transmit(&huart1, data, sizestr, 1000);
    sizestr = sprintf(data, "Use 'D' to go forward, space to jump.\n");
    HAL_UART_Transmit(&huart1, data, sizestr, 1000);
    // turn on everything
    HAL_GPIO_WritePin(GPIOE, 0xFFF00U, 1);
    setCursor(1,0);
    for (int i=0; i<18; i++) {
        write(cellTypeChar[4 + (i % 2)]);
    }
    setCursor(0,1);
    print("M I C R O  M A R I O");
    setCursor(1,3);
    for (int i=0; i<18; i++){
        write(cellTypeChar[1]);
    }

}

// life lost handler (can call game lost)
void lifeLost (){
    // not quite yet!
    if(immunity > 0 || life <0)
        return;
    //switch off a life
    HAL_GPIO_WritePin(GPIOE, leds[life-1], 0);
    life--;
    if (life == 0){
        gameLost();
        return;
    }
    else {
        HAL_TIM_Base_Stop_IT(&htim2);
        unsigned char data[30] = "";
        int sizestr = sprintf(data, "Life lost, remaining %d.\n", life);
        HAL_UART_Transmit(&huart1, data, sizestr, 1000);
        // take a breath
        immunity = 3;
        marioMode = HALT;
        HAL_UART_Receive_IT(&huart1, uartin, sizeof(uartin));
        HAL_TIM_Base_Start_IT(&htim2);
    }
}

int getScore(int duration, int won){
    int score = 1e6/duration;
    score = coins * ((won)? score : 1);
    return score;
}

// game lost handler, can restart
void gameLost (){
    HAL_TIM_Base_Stop_IT(&htim2);
    endTime = HAL_GetTick();
    command(LCD_CLEARDISPLAY);
    int score = getScore(endTime - startTime, 0);

    //print pretty stuff and stats (to uart & lcd)
    unsigned char data[40] = "";
    int sizestr;
    sizestr = sprintf(data, "\nYou Lost X_X\n");
    HAL_UART_Transmit(&huart1, data, sizestr, 1000);
    sizestr = sprintf(data, "$$  Coins: %d  $$\n", coins);
    HAL_UART_Transmit(&huart1, data, sizestr, 1000);
    sizestr = sprintf(data, "**** Score: %d ****\n", score);
    HAL_UART_Transmit(&huart1, data, sizestr, 1000);
    // turn on all leds
    HAL_GPIO_WritePin(GPIOE, 0xFFF00U, 1);
    setCursor(1,0);

    for (int i=0; i<4; i++) {
        write(cellTypeChar[BLOCK]);
    }
    sprintf(data, "   %4d   ", score);
    print(data);

    for (int i=0; i<4; i++) {
        write(cellTypeChar[BLOCK]);
    }

    setCursor(3,1);
    print("Y O U  L O S T");
    setCursor(8,2);
    print("X_X");
    setCursor(1,3);

    for (int i=0; i<18; i++){
        write(cellTypeChar[GROUND]);
    }

    HAL_Delay(4000);
    // restart stuff
    isPlaying = 0;
    buttonCount = 0;
    HAL_TIM_Base_Start_IT(&htim2);
}

// game won handler
void gameWon (){
    HAL_TIM_Base_Stop_IT(&htim2);
    endTime = HAL_GetTick();
    command(LCD_CLEARDISPLAY);
    int score = getScore(endTime - startTime, 1);
    // print pretty stuff & stat to lcd/uart
    unsigned char data[40] = "";
    int sizestr;
    sizestr = sprintf(data, "\nYou Won\n");
    HAL_UART_Transmit(&huart1, data, sizestr, 1000);
    sizestr = sprintf(data, "$$   Coins: %d   $$\n", coins);
    HAL_UART_Transmit(&huart1, data, sizestr, 1000);
    sizestr = sprintf(data, "**** Score: %d ****\n", score);
    HAL_UART_Transmit(&huart1, data, sizestr, 1000);
    // turn on all leds
    HAL_GPIO_WritePin(GPIOE, 0xFFF00U, 1);
    setCursor(1,0);

    for (int i=0; i<3; i++) {
        write(cellTypeChar[BLOCK]);
    }
    sprintf(data, "   %4d   ", score);
    print(data);

    for (int i=0; i<3; i++) {
        write(cellTypeChar[BLOCK]);
    }

    setCursor(3,1);
    print("Y O U  W O N !");
    setCursor(8,2);
    print("*_*");
    setCursor(1,3);

    for (int i=0; i<18; i++){
        write(cellTypeChar[GROUND]);
    }

    HAL_Delay(4000);
    // restart stuff
    isPlaying = 0;
    buttonCount = 0;
    HAL_TIM_Base_Start_IT(&htim2);
}
/* USER CODE END 4 */

void Error_Handler(void)
{
  __disable_irq();
  while (1)
  {
  }
}

/************************ (C) COPYRIGHT STMicroelectronics *****END OF FILE****/
